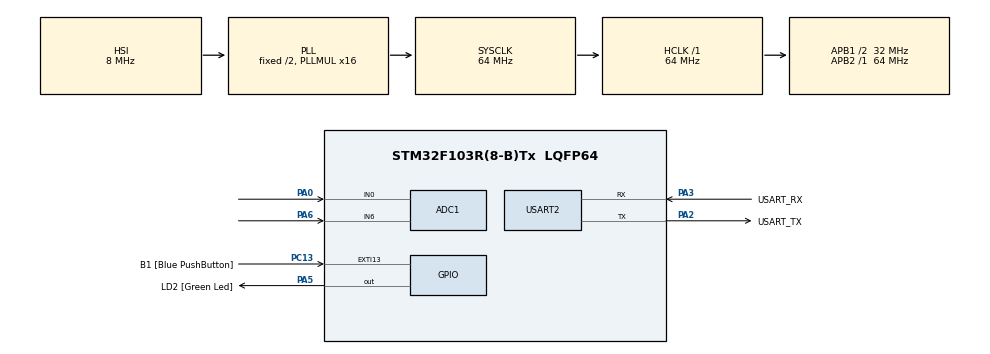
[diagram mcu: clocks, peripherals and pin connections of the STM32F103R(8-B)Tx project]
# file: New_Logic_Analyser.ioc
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ADC1.Channel-1\#ChannelRegularConversion=ADC_CHANNEL_6
ADC1.NbrOfConversionFlag=1
ADC1.Rank-1\#ChannelRegularConversion=1
ADC1.SamplingTime-1\#ChannelRegularConversion=ADC_SAMPLETIME_1CYCLE_5
ADC1.master=1
Dma.ADC1.0.Direction=DMA_PERIPH_TO_MEMORY
Dma.ADC1.0.Instance=DMA1_Channel1
Dma.ADC1.0.MemDataAlignment=DMA_MDATAALIGN_HALFWORD
Dma.ADC1.0.MemInc=DMA_MINC_ENABLE
Dma.ADC1.0.Mode=DMA_NORMAL
Dma.ADC1.0.PeriphDataAlignment=DMA_PDATAALIGN_HALFWORD
Dma.ADC1.0.PeriphInc=DMA_PINC_DISABLE
Dma.ADC1.0.Priority=DMA_PRIORITY_LOW
Dma.Request0=ADC1
Mcu.Family=STM32F1
Mcu.Name=STM32F103R(8-B)Tx
Mcu.Package=LQFP64
NVIC.ADC1_2_IRQn=true\:0\:0\:false\:false\:true\:true\:true\:true
NVIC.DMA1_Channel1_IRQn=true\:0\:0\:false\:false\:true\:false\:true\:true
NVIC.EXTI15_10_IRQn=true\:0\:0\:false\:false\:true\:true\:true\:true
NVIC.PriorityGroup=NVIC_PRIORITYGROUP_4
NVIC.TIM4_IRQn=true\:0\:0\:false\:false\:true\:true\:true\:true
PA0-WKUP.Signal=ADCx_IN0
PA11.Signal=GPXTI11
PA13.GPIO_Label=TMS
PA13.Mode=Serial_Wire
PA13.Signal=SYS_JTMS-SWDIO
PA14.GPIO_Label=TCK
PA14.Mode=Serial_Wire
PA14.Signal=SYS_JTCK-SWCLK
PA2.GPIO_Label=USART_TX
PA2.GPIO_Mode=GPIO_MODE_AF_PP
PA2.GPIO_PuPd=GPIO_NOPULL
PA2.GPIO_Speed=GPIO_SPEED_FREQ_LOW
PA2.Mode=Asynchronous
PA2.Signal=USART2_TX
PA3.GPIO_Label=USART_RX
PA3.GPIO_Mode=GPIO_MODE_AF_PP
PA3.GPIO_PuPd=GPIO_NOPULL
PA3.GPIO_Speed=GPIO_SPEED_FREQ_LOW
PA3.Mode=Asynchronous
PA3.Signal=USART2_RX
PA5.GPIO_Label=LD2 [Green Led]
PA5.GPIO_ModeDefaultOutputPP=GPIO_MODE_OUTPUT_PP
PA5.GPIO_PuPd=GPIO_NOPULL
PA5.GPIO_Speed=GPIO_SPEED_FREQ_LOW
PA5.Signal=GPIO_Output
PA6.Signal=ADCx_IN6
PB3.GPIO_Label=SWO
PB3.Signal=SYS_JTDO-TRACESWO
PC13-TAMPER-RTC.GPIO_Label=B1 [Blue PushButton]
PC13-TAMPER-RTC.GPIO_PuPd=GPIO_NOPULL
PC13-TAMPER-RTC.Signal=GPXTI13
PC14-OSC32_IN.Mode=LSE-External-Oscillator
PC14-OSC32_IN.Signal=RCC_OSC32_IN
PC15-OSC32_OUT.Mode=LSE-External-Oscillator
PC15-OSC32_OUT.Signal=RCC_OSC32_OUT
PD0-OSC_IN.Mode=HSE-External-Clock-Source
PD0-OSC_IN.Signal=RCC_OSC_IN
PD1-OSC_OUT.Mode=HSE-External-Clock-Source
PD1-OSC_OUT.Signal=RCC_OSC_OUT
ProjectManager.HeapSize=0x200
ProjectManager.StackSize=0x400
ProjectManager.TargetToolchain=STM32CubeIDE
RCC.AHBFreq_Value=64000000
RCC.APB1CLKDivider=RCC_HCLK_DIV2
RCC.APB1Freq_Value=32000000
RCC.APB1TimFreq_Value=64000000
RCC.APB2Freq_Value=64000000
RCC.APB2TimFreq_Value=64000000
RCC.HCLKFreq_Value=64000000
RCC.PLLMUL=RCC_PLL_MUL16
RCC.RTCClockSelection=RCC_RTCCLKSOURCE_LSE
RCC.SYSCLKFreq_VALUE=64000000
RCC.SYSCLKSource=RCC_SYSCLKSOURCE_PLLCLK
RCC.USBFreq_Value=64000000
SH.ADCx_IN0.0=ADC1_IN0,IN0
SH.ADCx_IN6.0=ADC1_IN6,IN6
TIM4.AutoReloadPreload=TIM_AUTORELOAD_PRELOAD_ENABLE
TIM4.Period=10000-1
TIM4.Prescaler=8000-1
USART2.VirtualMode=VM_ASYNC
VP_TIM4_VS_ClockSourceINT.Mode=Internal
board=NUCLEO-F103RB

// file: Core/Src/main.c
/* USER CODE BEGIN Header */
/**
  ******************************************************************************
  * @file           : main.c
  * @brief          : Main program body
  ******************************************************************************
  * @attention
  *
  * Copyright (c) 2023 STMicroelectronics.
  * All rights reserved.
  *
  * This software is licensed under terms that can be found in the LICENSE file
  * in the root directory of this software component.
  * If no LICENSE file comes with this software, it is provided AS-IS.
  *
  ******************************************************************************
  */
/* USER CODE END Header */
#include "main.h"

ADC_HandleTypeDef hadc1;
DMA_HandleTypeDef hdma_adc1;

TIM_HandleTypeDef htim4;

UART_HandleTypeDef huart2;

void SystemClock_Config(void);
static void MX_GPIO_Init(void);
static void MX_DMA_Init(void);
static void MX_USART2_UART_Init(void);
static void MX_TIM4_Init(void);
static void MX_ADC1_Init(void);

/* USER CODE BEGIN 0 */
uint16_t SineIndex = 0;
int16_t msg[10];
int16_t msg2[10];
int16_t raw;
int16_t HalfFlag=0;
int16_t HalfFlag2=0;

int16_t FullFlag=0;
int16_t FullFlag2=0;

/* USER CODE END 0 */

int main(void)
{

  /* MCU Configuration--------------------------------------------------------*/

  /* Reset of all peripherals, Initializes the Flash interface and the Systick. */
  HAL_Init();

  /* Configure the system clock */
  SystemClock_Config();

  /* Initialize all configured peripherals */
  MX_GPIO_Init();
  MX_DMA_Init();
  MX_USART2_UART_Init();
  MX_TIM4_Init();
  MX_ADC1_Init();
  /* USER CODE BEGIN 2 */
  HAL_TIM_Base_Start_IT(&htim4);
  /* USER CODE END 2 */

  /* Infinite loop */
  while (1)
  {

  }
}

void SystemClock_Config(void)
{
  RCC_OscInitTypeDef RCC_OscInitStruct = {0};
  RCC_ClkInitTypeDef RCC_ClkInitStruct = {0};
  RCC_PeriphCLKInitTypeDef PeriphClkInit = {0};

  /** Initializes the RCC Oscillators according to the specified parameters
  * in the RCC_OscInitTypeDef structure.
  */
  RCC_OscInitStruct.OscillatorType = RCC_OSCILLATORTYPE_HSI;
  RCC_OscInitStruct.HSIState = RCC_HSI_ON;
  RCC_OscInitStruct.HSICalibrationValue = RCC_HSICALIBRATION_DEFAULT;
  RCC_OscInitStruct.PLL.PLLState = RCC_PLL_ON;
  RCC_OscInitStruct.PLL.PLLSource = RCC_PLLSOURCE_HSI_DIV2;
  RCC_OscInitStruct.PLL.PLLMUL = RCC_PLL_MUL16;
  if (HAL_RCC_OscConfig(&RCC_OscInitStruct) != HAL_OK)
  {
    Error_Handler();
  }

  /** Initializes the CPU, AHB and APB buses clocks
  */
  RCC_ClkInitStruct.ClockType = RCC_CLOCKTYPE_HCLK|RCC_CLOCKTYPE_SYSCLK
                              |RCC_CLOCKTYPE_PCLK1|RCC_CLOCKTYPE_PCLK2;
  RCC_ClkInitStruct.SYSCLKSource = RCC_SYSCLKSOURCE_PLLCLK;
  RCC_ClkInitStruct.AHBCLKDivider = RCC_SYSCLK_DIV1;
  RCC_ClkInitStruct.APB1CLKDivider = RCC_HCLK_DIV2;
  RCC_ClkInitStruct.APB2CLKDivider = RCC_HCLK_DIV1;

  if (HAL_RCC_ClockConfig(&RCC_ClkInitStruct, FLASH_LATENCY_2) != HAL_OK)
  {
    Error_Handler();
  }
  PeriphClkInit.PeriphClockSelection = RCC_PERIPHCLK_ADC;
  PeriphClkInit.AdcClockSelection = RCC_ADCPCLK2_DIV2;
  if (HAL_RCCEx_PeriphCLKConfig(&PeriphClkInit) != HAL_OK)
  {
    Error_Handler();
  }
}

static void MX_ADC1_Init(void)
{

  ADC_ChannelConfTypeDef sConfig = {0};

  /** Common config
  */
  hadc1.Instance = ADC1;
  hadc1.Init.ScanConvMode = ADC_SCAN_DISABLE;
  hadc1.Init.ContinuousConvMode = DISABLE;
  hadc1.Init.DiscontinuousConvMode = DISABLE;
  hadc1.Init.ExternalTrigConv = ADC_SOFTWARE_START;
  hadc1.Init.DataAlign = ADC_DATAALIGN_RIGHT;
  hadc1.Init.NbrOfConversion = 1;
  if (HAL_ADC_Init(&hadc1) != HAL_OK)
  {
    Error_Handler();
  }

  /** Configure Regular Channel
  */
  sConfig.Channel = ADC_CHANNEL_6;
  sConfig.Rank = ADC_REGULAR_RANK_1;
  sConfig.SamplingTime = ADC_SAMPLETIME_1CYCLE_5;
  if (HAL_ADC_ConfigChannel(&hadc1, &sConfig) != HAL_OK)
  {
    Error_Handler();
  }

}

static void MX_TIM4_Init(void)
{

  TIM_ClockConfigTypeDef sClockSourceConfig = {0};
  TIM_MasterConfigTypeDef sMasterConfig = {0};

  htim4.Instance = TIM4;
  htim4.Init.Prescaler = 8000-1;
  htim4.Init.CounterMode = TIM_COUNTERMODE_UP;
  htim4.Init.Period = 10000-1;
  htim4.Init.ClockDivision = TIM_CLOCKDIVISION_DIV1;
  htim4.Init.AutoReloadPreload = TIM_AUTORELOAD_PRELOAD_ENABLE;
  if (HAL_TIM_Base_Init(&htim4) != HAL_OK)
  {
    Error_Handler();
  }
  sClockSourceConfig.ClockSource = TIM_CLOCKSOURCE_INTERNAL;
  if (HAL_TIM_ConfigClockSource(&htim4, &sClockSourceConfig) != HAL_OK)
  {
    Error_Handler();
  }
  sMasterConfig.MasterOutputTrigger = TIM_TRGO_RESET;
  sMasterConfig.MasterSlaveMode = TIM_MASTERSLAVEMODE_DISABLE;
  if (HAL_TIMEx_MasterConfigSynchronization(&htim4, &sMasterConfig) != HAL_OK)
  {
    Error_Handler();
  }

}

static void MX_USART2_UART_Init(void)
{

  huart2.Instance = USART2;
  huart2.Init.BaudRate = 115200;
  huart2.Init.WordLength = UART_WORDLENGTH_8B;
  huart2.Init.StopBits = UART_STOPBITS_1;
  huart2.Init.Parity = UART_PARITY_NONE;
  huart2.Init.Mode = UART_MODE_TX_RX;
  huart2.Init.HwFlowCtl = UART_HWCONTROL_NONE;
  huart2.Init.OverSampling = UART_OVERSAMPLING_16;
  if (HAL_UART_Init(&huart2) != HAL_OK)
  {
    Error_Handler();
  }

}

static void MX_DMA_Init(void)
{

  /* DMA controller clock enable */
  __HAL_RCC_DMA1_CLK_ENABLE();

  /* DMA interrupt init */
  /* DMA1_Channel1_IRQn interrupt configuration */
  HAL_NVIC_SetPriority(DMA1_Channel1_IRQn, 0, 0);
  HAL_NVIC_EnableIRQ(DMA1_Channel1_IRQn);

}

static void MX_GPIO_Init(void)
{
  GPIO_InitTypeDef GPIO_InitStruct = {0};

  /* GPIO Ports Clock Enable */
  __HAL_RCC_GPIOC_CLK_ENABLE();
  __HAL_RCC_GPIOD_CLK_ENABLE();
  __HAL_RCC_GPIOA_CLK_ENABLE();
  __HAL_RCC_GPIOB_CLK_ENABLE();

  /*Configure GPIO pin Output Level */
  HAL_GPIO_WritePin(LD2_GPIO_Port, LD2_Pin, GPIO_PIN_RESET);

  /*Configure GPIO pin : B1_Pin */
  GPIO_InitStruct.Pin = B1_Pin;
  GPIO_InitStruct.Mode = GPIO_MODE_IT_RISING;
  GPIO_InitStruct.Pull = GPIO_NOPULL;
  HAL_GPIO_Init(B1_GPIO_Port, &GPIO_InitStruct);

  /*Configure GPIO pin : LD2_Pin */
  GPIO_InitStruct.Pin = LD2_Pin;
  GPIO_InitStruct.Mode = GPIO_MODE_OUTPUT_PP;
  GPIO_InitStruct.Pull = GPIO_NOPULL;
  GPIO_InitStruct.Speed = GPIO_SPEED_FREQ_LOW;
  HAL_GPIO_Init(LD2_GPIO_Port, &GPIO_InitStruct);

  /*Configure GPIO pin : PA11 */
  GPIO_InitStruct.Pin = GPIO_PIN_11;
  GPIO_InitStruct.Mode = GPIO_MODE_IT_RISING;
  GPIO_InitStruct.Pull = GPIO_NOPULL;
  HAL_GPIO_Init(GPIOA, &GPIO_InitStruct);

  /* EXTI interrupt init*/
  HAL_NVIC_SetPriority(EXTI15_10_IRQn, 0, 0);
  HAL_NVIC_EnableIRQ(EXTI15_10_IRQn);

}

/* USER CODE BEGIN 4 */
void HAL_GPIO_EXIT_Callback(uint16_t GPIO_Pin){
	if  (GPIO_Pin==GPIO_PIN_12)
	{
		HAL_GPIO_TogglePin(GPIOA , GPIO_PIN_5);
	}
}
void HAL_TIM_PeriodElapsedCallback(TIM_HandleTypeDef *htim)
{
  // Check which version of the timer triggered this callback and toggle LED
  if (htim == &htim4 )
  {
    HAL_GPIO_TogglePin(GPIOA, GPIO_PIN_5);
  }
}
/* USER CODE END 4 */

void Error_Handler(void)
{
  __disable_irq();
  while (1)
  {
  }
}
